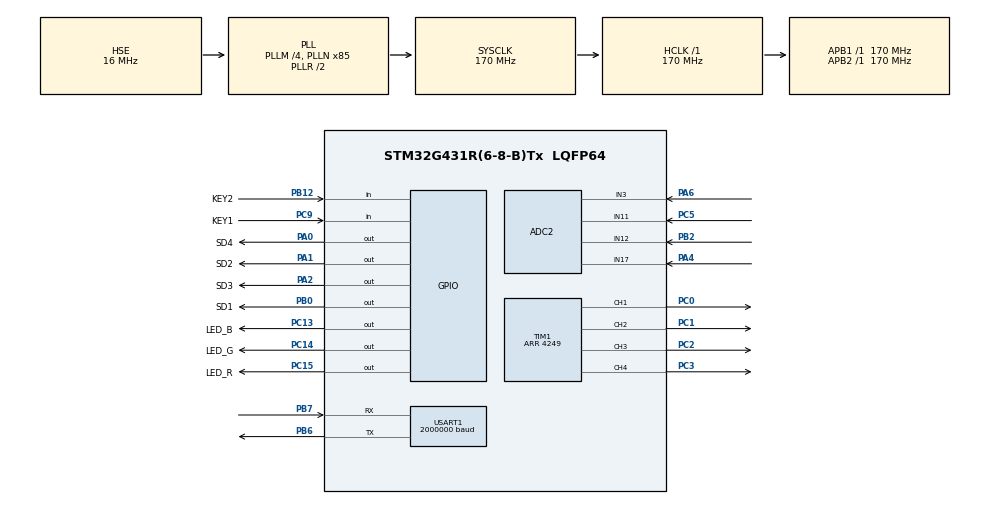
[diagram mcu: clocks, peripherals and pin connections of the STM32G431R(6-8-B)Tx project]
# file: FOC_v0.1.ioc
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ADC2.Channel-0\#ChannelRegularConversion=ADC_CHANNEL_11
ADC2.Channel-3\#ChannelRegularConversion=ADC_CHANNEL_12
ADC2.ContinuousConvMode=ENABLE
ADC2.DMAContinuousRequests=ENABLE
ADC2.EOCSelection=ADC_EOC_SEQ_CONV
ADC2.EnableInjectedConversion=ENABLE
ADC2.ExternalTrigConv=ADC_SOFTWARE_START
ADC2.ExternalTrigInjecConv=ADC_EXTERNALTRIGINJEC_T1_CC4
ADC2.InjNumberOfConversion=2
ADC2.InjectedChannel-1\#ChannelInjectedConversion=ADC_CHANNEL_3
ADC2.InjectedChannel-2\#ChannelInjectedConversion=ADC_CHANNEL_17
ADC2.InjectedOffsetNumber-1\#ChannelInjectedConversion=ADC_OFFSET_NONE
ADC2.InjectedOffsetNumber-2\#ChannelInjectedConversion=ADC_OFFSET_NONE
ADC2.InjectedRank-1\#ChannelInjectedConversion=1
ADC2.InjectedRank-2\#ChannelInjectedConversion=2
ADC2.InjectedSamplingTime-1\#ChannelInjectedConversion=ADC_SAMPLETIME_12CYCLES_5
ADC2.InjectedSamplingTime-2\#ChannelInjectedConversion=ADC_SAMPLETIME_12CYCLES_5
ADC2.NbrOfConversion=2
ADC2.NbrOfConversionFlag=1
ADC2.OffsetNumber-0\#ChannelRegularConversion=ADC_OFFSET_NONE
ADC2.OffsetNumber-3\#ChannelRegularConversion=ADC_OFFSET_NONE
ADC2.Rank-0\#ChannelRegularConversion=1
ADC2.Rank-3\#ChannelRegularConversion=2
ADC2.SamplingTime-0\#ChannelRegularConversion=ADC_SAMPLETIME_47CYCLES_5
ADC2.SamplingTime-3\#ChannelRegularConversion=ADC_SAMPLETIME_47CYCLES_5
Dma.ADC2.1.Direction=DMA_PERIPH_TO_MEMORY
Dma.ADC2.1.EventEnable=DISABLE
Dma.ADC2.1.Instance=DMA1_Channel2
Dma.ADC2.1.MemDataAlignment=DMA_MDATAALIGN_HALFWORD
Dma.ADC2.1.MemInc=DMA_MINC_ENABLE
Dma.ADC2.1.Mode=DMA_CIRCULAR
Dma.ADC2.1.PeriphDataAlignment=DMA_PDATAALIGN_HALFWORD
Dma.ADC2.1.PeriphInc=DMA_PINC_DISABLE
Dma.ADC2.1.Polarity=HAL_DMAMUX_REQ_GEN_RISING
Dma.ADC2.1.Priority=DMA_PRIORITY_HIGH
Dma.ADC2.1.RequestNumber=1
Dma.ADC2.1.SignalID=NONE
Dma.ADC2.1.SyncEnable=DISABLE
Dma.ADC2.1.SyncPolarity=HAL_DMAMUX_SYNC_NO_EVENT
Dma.ADC2.1.SyncRequestNumber=1
Dma.ADC2.1.SyncSignalID=NONE
Dma.Request0=USART1_TX
Dma.Request1=ADC2
Dma.USART1_TX.0.Direction=DMA_MEMORY_TO_PERIPH
Dma.USART1_TX.0.EventEnable=DISABLE
Dma.USART1_TX.0.Instance=DMA1_Channel1
Dma.USART1_TX.0.MemDataAlignment=DMA_MDATAALIGN_BYTE
Dma.USART1_TX.0.MemInc=DMA_MINC_ENABLE
Dma.USART1_TX.0.Mode=DMA_NORMAL
Dma.USART1_TX.0.PeriphDataAlignment=DMA_PDATAALIGN_BYTE
Dma.USART1_TX.0.PeriphInc=DMA_PINC_DISABLE
Dma.USART1_TX.0.Polarity=HAL_DMAMUX_REQ_GEN_RISING
Dma.USART1_TX.0.Priority=DMA_PRIORITY_HIGH
Dma.USART1_TX.0.RequestNumber=1
Dma.USART1_TX.0.SignalID=NONE
Dma.USART1_TX.0.SyncEnable=DISABLE
Dma.USART1_TX.0.SyncPolarity=HAL_DMAMUX_SYNC_NO_EVENT
Dma.USART1_TX.0.SyncRequestNumber=1
Dma.USART1_TX.0.SyncSignalID=NONE
Mcu.Family=STM32G4
Mcu.Name=STM32G431R(6-8-B)Tx
Mcu.Package=LQFP64
NVIC.ADC1_2_IRQn=true\:0\:0\:true\:false\:true\:true\:true\:true
NVIC.PriorityGroup=NVIC_PRIORITYGROUP_4
NVIC.TIM1_UP_TIM16_IRQn=true\:0\:0\:false\:false\:true\:true\:true\:true
NVIC.TIM2_IRQn=true\:2\:0\:true\:false\:true\:true\:true\:true
NVIC.USART1_IRQn=true\:3\:0\:true\:false\:true\:true\:true\:true
PA0.GPIO_Label=SD4
PA0.GPIO_Speed=GPIO_SPEED_FREQ_VERY_HIGH
PA0.Signal=GPIO_Output
PA1.GPIO_Label=SD2
PA1.GPIO_Speed=GPIO_SPEED_FREQ_VERY_HIGH
PA1.Signal=GPIO_Output
PA13.Mode=Serial_Wire
PA13.Signal=SYS_JTMS-SWDIO
PA14.Mode=Serial_Wire
PA14.Signal=SYS_JTCK-SWCLK
PA2.GPIO_Label=SD3
PA2.GPIO_Speed=GPIO_SPEED_FREQ_VERY_HIGH
PA2.Signal=GPIO_Output
PA4.Mode=IN17-Single-Ended
PA4.Signal=ADC2_IN17
PA6.Mode=IN3-Single-Ended
PA6.Signal=ADC2_IN3
PB0.GPIO_Label=SD1
PB0.GPIO_Speed=GPIO_SPEED_FREQ_VERY_HIGH
PB0.Signal=GPIO_Output
PB12.GPIO_Label=KEY2
PB12.Signal=GPIO_Input
PB2.Mode=IN12-Single-Ended
PB2.Signal=ADC2_IN12
PB6.Mode=Asynchronous
PB6.Signal=USART1_TX
PB7.Mode=Asynchronous
PB7.Signal=USART1_RX
PC0.Signal=S_TIM1_CH1
PC1.Signal=S_TIM1_CH2
PC13.GPIO_Label=LED_B
PC13.GPIO_Speed=GPIO_SPEED_FREQ_LOW
PC13.PinState=GPIO_PIN_SET
PC13.Signal=GPIO_Output
PC14-OSC32_IN.GPIO_Label=LED_G
PC14-OSC32_IN.PinState=GPIO_PIN_SET
PC14-OSC32_IN.Signal=GPIO_Output
PC15-OSC32_OUT.GPIO_Label=LED_R
PC15-OSC32_OUT.PinState=GPIO_PIN_SET
PC15-OSC32_OUT.Signal=GPIO_Output
PC2.Signal=S_TIM1_CH3
PC3.Signal=S_TIM1_CH4
PC5.Mode=IN11-Single-Ended
PC5.Signal=ADC2_IN11
PC9.GPIO_Label=KEY1
PC9.GPIO_PuPd=GPIO_NOPULL
PC9.Signal=GPIO_Input
PF0-OSC_IN.Mode=HSE-External-Oscillator
PF0-OSC_IN.Signal=RCC_OSC_IN
PF1-OSC_OUT.Mode=HSE-External-Oscillator
PF1-OSC_OUT.Signal=RCC_OSC_OUT
ProjectManager.HeapSize=0x200
ProjectManager.StackSize=0x400
ProjectManager.TargetToolchain=MDK-ARM V5.32
RCC.ADC12Freq_Value=170000000
RCC.AHBFreq_Value=170000000
RCC.APB1Freq_Value=170000000
RCC.APB1TimFreq_Value=170000000
RCC.APB2Freq_Value=170000000
RCC.APB2TimFreq_Value=170000000
RCC.CortexFreq_Value=170000000
RCC.EXTERNAL_CLOCK_VALUE=12288000
RCC.HCLKFreq_Value=170000000
RCC.HSE_VALUE=16000000
RCC.HSI48_VALUE=48000000
RCC.HSI_VALUE=16000000
RCC.LSE_VALUE=32768
RCC.PLLM=RCC_PLLM_DIV4
RCC.PLLN=85
RCC.PLLSourceVirtual=RCC_PLLSOURCE_HSE
RCC.SYSCLKFreq_VALUE=170000000
RCC.SYSCLKSource=RCC_SYSCLKSOURCE_PLLCLK
RCC.USBFreq_Value=170000000
RCC.VCOOutputFreq_Value=340000000
SH.S_TIM1_CH1.0=TIM1_CH1,PWM Generation1 CH1
SH.S_TIM1_CH2.0=TIM1_CH2,PWM Generation2 CH2
SH.S_TIM1_CH3.0=TIM1_CH3,PWM Generation3 CH3
SH.S_TIM1_CH4.0=TIM1_CH4,PWM Generation4 CH4
TIM1.AutoReloadPreload=TIM_AUTORELOAD_PRELOAD_ENABLE
TIM1.Channel-PWM\ Generation1\ CH1=TIM_CHANNEL_1
TIM1.Channel-PWM\ Generation2\ CH2=TIM_CHANNEL_2
TIM1.Channel-PWM\ Generation3\ CH3=TIM_CHANNEL_3
TIM1.Channel-PWM\ Generation4\ CH4=TIM_CHANNEL_4
TIM1.CounterMode=TIM_COUNTERMODE_CENTERALIGNED1
TIM1.PeriodNoDither=4249
TIM1.TIM_MasterOutputTrigger=TIM_TRGO_OC4REF
TIM1.TIM_MasterSlaveMode=TIM_MASTERSLAVEMODE_ENABLE
TIM2.AutoReloadPreload=TIM_AUTORELOAD_PRELOAD_ENABLE
TIM2.PeriodNoDither=9
TIM2.Prescaler=16999
TIM2.TIM_MasterSlaveMode=TIM_MASTERSLAVEMODE_DISABLE
USART1.BaudRate=2000000
USART1.Mode=MODE_TX
USART1.VirtualMode-Asynchronous=VM_ASYNC
VP_SYS_VS_DBSignals.Mode=DisableDeadBatterySignals
VP_TIM1_VS_ClockSourceINT.Mode=Internal
VP_TIM2_VS_ClockSourceINT.Mode=Internal
board=custom

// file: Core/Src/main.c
/* USER CODE BEGIN Header */
/**
  ******************************************************************************
  * @file           : main.c
  * @brief          : Main program body
  ******************************************************************************
  */
/* USER CODE END Header */
#include "main.h"
#include "adc.h"
#include "dma.h"
#include "tim.h"
#include "usart.h"
#include "gpio.h"

/* USER CODE BEGIN Includes */
#include <math.h>
#include "drv_config.h"       /* 硬件配置层 */
#include "mtr_config.h"       /* 电机配置层 */
#include "hw_cordic.h"        /* CORDIC 极速加速层 */
#include "hw_pwm.h"           /* PWM 底层驱动层 */
#include "hw_adc.h"           /* ADC 底层驱动层 */
#include "app_main.h"         /* 应用层总调度 */
#include "app_throttle.h"     /* 调速器映射 */
#include "app_telemetry.h"    /* VOFA+ 遥测 */
#include "safe_fault.h"       /* 安全保护层 */
#include "ctrl_observer.h"    /* 观测器 */
#include "ctrl_current_loop.h"/* 电流环 */
#include "ctrl_state_machine.h"/* 状态机 */
#include "ctrl_advanced.h"    /* MTPA 与弱磁算法 */
/* USER CODE END Includes */

void SystemClock_Config(void);

/**
  * @brief 应用入口：初始化 HAL、时钟、外设和电机控制模块后进入主循环。
  * @retval int 标准 C 入口返回值；本固件正常情况下不会返回。
  */
int main(void)
{

  /* 初始化 HAL 库和系统节拍，再配置 MCU 时钟树。 */
  HAL_Init();

  /* 配置 SYSCLK/HCLK/PCLK 为 170 MHz（详见 SystemClock_Config）。 */
  SystemClock_Config();

  /* 按 CubeMX 配置初始化 GPIO、DMA、定时器、ADC 和串口外设。 */
  MX_GPIO_Init();
  MX_DMA_Init();
  MX_TIM1_Init();
  MX_ADC2_Init();
  MX_USART1_UART_Init();
  MX_TIM2_Init();

  /* USER CODE BEGIN 2 */
    /* 初始化 CORDIC、保持功率驱动关闭，并建立应用控制器初始状态。 */
    HW_CORDIC_Init();       /* 启动 CORDIC 硬件三角函数加速 */
    HW_PWM_Disable();       /* 强制拉低 SD 引脚，确保上电安全 */
    APP_Init();             /* 初始化内部 PID、观测器、状态机等结构体 */

    /*
     * 先校准 ADC2；随后 TIM1 产生注入组触发，但外部 SD 使能保持低电平，
     * 避免校准期间逆变器向电机输出功率。
     */
    if (HAL_ADCEx_Calibration_Start(&hadc2, ADC_SINGLE_ENDED) != HAL_OK) {
        Error_Handler();
    }

    /* CH4 用作 ADC 注入转换触发；CH1-CH3 初始 CCR 清零。 */
    __HAL_TIM_SET_COMPARE(&htim1, TIM_CHANNEL_4, DRV_PWM_ARR - 1);
    __HAL_TIM_SET_COMPARE(&htim1, TIM_CHANNEL_1, 0U);
    __HAL_TIM_SET_COMPARE(&htim1, TIM_CHANNEL_2, 0U);
    __HAL_TIM_SET_COMPARE(&htim1, TIM_CHANNEL_3, 0U);

    /* 规则组 DMA 连续更新母线电压和调速器电压两个采样值。 */
    if (HAL_ADC_Start_DMA(&hadc2, (uint32_t *)adc_regular_dma_buf,
                          ADC_REGULAR_BUF_SIZE) != HAL_OK) {
        Error_Handler();
    }

    /* 启动 TIM1 三相 PWM 计数及 CH4 触发，驱动功率级仍处于禁用状态。 */
    if (HAL_TIM_PWM_Start(&htim1, TIM_CHANNEL_1) != HAL_OK ||
        HAL_TIM_PWM_Start(&htim1, TIM_CHANNEL_2) != HAL_OK ||
        HAL_TIM_PWM_Start(&htim1, TIM_CHANNEL_3) != HAL_OK ||
        HAL_TIM_PWM_Start(&htim1, TIM_CHANNEL_4) != HAL_OK) {
        Error_Handler();
    }

    /* ADC 注入转换完成后进入 20 kHz 电流控制回调。 */
    if (HAL_ADCEx_InjectedStart_IT(&hadc2) != HAL_OK) {
        Error_Handler();
    }

    /* 等待 ADC 高频回调累计 2000 组电流零点样本，最多等待 500 ms。 */
    uint32_t calib_start_tick = HAL_GetTick();
    while (g_calib_done == 0) {
        if ((HAL_GetTick() - calib_start_tick) >= 500U) {
            Error_Handler();
        }
        HAL_Delay(1);
    }

    /* 启动 TIM2 低频任务；电机仍保持 IDLE，满足输入和母线条件后才启动。 */
    if (HAL_TIM_Base_Start_IT(&htim2) != HAL_OK) {
        Error_Handler();
    }

    /* 初始化状态灯：红灯灭、绿灯亮，表示系统已完成启动。 */
    HAL_GPIO_WritePin(DRV_LED_R_PORT, DRV_LED_R_PIN, GPIO_PIN_SET);
    HAL_GPIO_WritePin(DRV_LED_G_PORT, DRV_LED_G_PIN, GPIO_PIN_RESET);
  /* USER CODE END 2 */

  /* Infinite loop */
  while (1)
  {

    /* USER CODE BEGIN 3 */
    /* 非硬实时主循环执行故障恢复轮询；FOC 和 1 kHz 调度由中断负责。 */
    SAFE_HandleFault();

    /* 可以在这里加入 LED 闪烁、OLED 刷新等不需要硬实时性的代码 */
  }
  /* USER CODE END 3 */
}

/**
  * @brief 配置外部高速时钟及 PLL，建立 170 MHz 系统时钟。
  * @retval None
  *
  * SYSCLK、AHB、APB1、APB2 均使用 PLL 输出并设置相应 Flash 等待周期。
  */
void SystemClock_Config(void)
{
  RCC_OscInitTypeDef RCC_OscInitStruct = {0};
  RCC_ClkInitTypeDef RCC_ClkInitStruct = {0};

  HAL_PWREx_ControlVoltageScaling(PWR_REGULATOR_VOLTAGE_SCALE1_BOOST);

  RCC_OscInitStruct.OscillatorType = RCC_OSCILLATORTYPE_HSE;
  RCC_OscInitStruct.HSEState = RCC_HSE_ON;
  RCC_OscInitStruct.PLL.PLLState = RCC_PLL_ON;
  RCC_OscInitStruct.PLL.PLLSource = RCC_PLLSOURCE_HSE;
  RCC_OscInitStruct.PLL.PLLM = RCC_PLLM_DIV4;
  RCC_OscInitStruct.PLL.PLLN = 85;
  RCC_OscInitStruct.PLL.PLLP = RCC_PLLP_DIV2;
  RCC_OscInitStruct.PLL.PLLQ = RCC_PLLQ_DIV2;
  RCC_OscInitStruct.PLL.PLLR = RCC_PLLR_DIV2;
  if (HAL_RCC_OscConfig(&RCC_OscInitStruct) != HAL_OK)
  {
    Error_Handler();
  }

  RCC_ClkInitStruct.ClockType = RCC_CLOCKTYPE_HCLK|RCC_CLOCKTYPE_SYSCLK
                              |RCC_CLOCKTYPE_PCLK1|RCC_CLOCKTYPE_PCLK2;
  RCC_ClkInitStruct.SYSCLKSource = RCC_SYSCLKSOURCE_PLLCLK;
  RCC_ClkInitStruct.AHBCLKDivider = RCC_SYSCLK_DIV1;
  RCC_ClkInitStruct.APB1CLKDivider = RCC_HCLK_DIV1;
  RCC_ClkInitStruct.APB2CLKDivider = RCC_HCLK_DIV1;

  if (HAL_RCC_ClockConfig(&RCC_ClkInitStruct, FLASH_LATENCY_4) != HAL_OK)
  {
    Error_Handler();
  }
}

/* USER CODE BEGIN 4 */

/* ============================================================
 * ADC 注入转换完成回调是高速电流控制入口：依次完成零点校准、
 * 电流换算、保护、Clarke 变换、观测器/IF 状态更新和电流环执行。
 * ============================================================ */

/**
  * @brief TIM1_CH4 触发 ADC 注入转换完成后执行高速电流控制。
  */
void HAL_ADCEx_InjectedConvCpltCallback(ADC_HandleTypeDef *hadc)
{
    if (hadc->Instance != ADC2) return;

    /* 读取两路注入组原始样本，先完成启动阶段的零电流偏置累计。 */
    uint16_t raw_ia = (uint16_t)ADC2->JDR1;
    uint16_t raw_ic = (uint16_t)ADC2->JDR2;

    if (HW_ADC_CalibrateInjected(raw_ia, raw_ic) == 0) {
        return; /* 校准期间不使用尚未确认的电流偏置执行控制。 */
    }

    /* 将 ADC 样本换算为 IA、IB、IC (A)。 */
    HW_ADC_GetCurrents(&g_motor.i_a, &g_motor.i_b, &g_motor.i_c);

    if (g_motor.state == STATE_FAULT) {
        return;
    }

    if (SAFE_CheckCurrentFast(g_motor.i_a, g_motor.i_b, g_motor.i_c) != FAULT_NONE) {
        return;
    }
    if (g_motor.state == STATE_IDLE) {
        return;
    }

    /* Clarke 变换：三相电流 (A) 映射到静止坐标系 alpha-beta (A)。 */
    g_motor.i_alpha = g_motor.i_a;
    g_motor.i_beta  = (g_motor.i_a + 2.0f * g_motor.i_b) * 0.57735027f;

    /* 以本周期电压/电流反馈更新磁链观测器及 PLL。 */
    Ctrl_Observer_Update(&g_motor.obs, g_motor.v_alpha, g_motor.v_beta,
                         g_motor.i_alpha, g_motor.i_beta, FOC_DT);

    /* IF 启动时按 FOC_DT 积分电频率得到电角度，并同步观测器状态。 */
    if (g_motor.state == STATE_IF) {
        float target_freq = (float)g_motor.direction * IF_START_FREQ;
        if (g_motor.direction > 0 && g_motor.freq_e < target_freq) {
            g_motor.freq_e += IF_RAMP_RATE * FOC_DT;
            if (g_motor.freq_e > target_freq) g_motor.freq_e = target_freq;
        } else if (g_motor.direction < 0 && g_motor.freq_e > target_freq) {
            g_motor.freq_e -= IF_RAMP_RATE * FOC_DT;
            if (g_motor.freq_e < target_freq) g_motor.freq_e = target_freq;
        }
        g_motor.theta_if += 6.28318531f * g_motor.freq_e * FOC_DT;
        if (g_motor.theta_if >= 6.28318531f) {
            g_motor.theta_if -= 6.28318531f;
        } else if (g_motor.theta_if < 0.0f) {
            g_motor.theta_if += 6.28318531f;
        }
        g_motor.obs.theta_est = g_motor.theta_if;

        if (fabsf(g_motor.freq_e) >= IF_START_FREQ) {
            Ctrl_Observer_ForceAlign(&g_motor.obs, g_motor.theta_if,
                                     g_motor.freq_e, g_motor.i_alpha,
                                     g_motor.i_beta);
            g_motor.run_timer = 0U;
            g_motor.state = STATE_RUN;
        }
    }

    /* IF、闭环 RUN 和 BRAKE 状态均运行高速 dq 电流环及 SVPWM。 */
    if (g_motor.state == STATE_IF || g_motor.state == STATE_RUN ||
        g_motor.state == STATE_BRAKE) {
        Ctrl_CurrentLoop_Execute(&g_motor, HW_ADC_GetVbus(), FOC_DT);
    }
}

/**
  * @brief TIM2 低频任务入口，通常按 1 kHz 调用。
  *
  * 依次执行保护检查、调速器映射、状态转换、速度及高级算法更新和遥测。
  */
void HAL_TIM_PeriodElapsedCallback(TIM_HandleTypeDef *htim)
{
    if (htim->Instance == TIM2)
    {
        float vbus = HW_ADC_GetVbus();

        /* 低频冗余保护；检测到故障即锁存状态并关闭功率级。 */
        if (g_motor.state != STATE_FAULT) {
            uint8_t fault = SAFE_Check(vbus, g_motor.i_a, g_motor.i_b, g_motor.i_c);
            if (fault != FAULT_NONE) {
                g_motor.fault_code = fault;
                g_motor.state = STATE_FAULT;
                HW_PWM_Disable();
            }
        }

        /* 读取调速器 ADC 电压并映射为有符号机械转速目标 (RPM)。 */
        float throttle_v = HW_ADC_GetThrottleVoltage();
        float target_rpm;
        APP_Throttle_Update(throttle_v, &target_rpm);
        g_motor.target_rpm = target_rpm;

        /*
         * 中位命令进入有源制动；变向先减速到近零，再切换转向启动，
         * 避免在明显反向转速下直接施加新方向的启动电流。
         */
        if (g_motor.state != STATE_FAULT) {
            int8_t target_direction = target_rpm > 0.0f ? 1 : -1;
            float speed_abs = fabsf(g_motor.obs.speed_rpm);

            if (target_rpm == 0.0f) {
                if (g_motor.state == STATE_IF || g_motor.state == STATE_RUN) {
                    g_motor.state = STATE_BRAKE;
                }
            } else if (g_motor.state == STATE_IDLE &&
                       vbus > DRV_UVP_RECOVER &&
                       vbus < DRV_OVP_RECOVER) {
                if (speed_abs > 20.0f) {
                    g_motor.state = STATE_BRAKE;
                } else {
                    g_motor.direction = target_direction;
                    g_motor.state = STATE_IF;
                }
            } else if (g_motor.state == STATE_IF &&
                       target_direction != g_motor.direction) {
                g_motor.state = STATE_BRAKE;
            } else if (g_motor.state == STATE_RUN &&
                       target_direction != (g_motor.obs.speed_rpm >= 0.0f ? 1 : -1)) {
                g_motor.state = speed_abs <= 20.0f ? STATE_IDLE : STATE_BRAKE;
            }
        }

        /* 执行 IDLE/IF/RUN/BRAKE/FAULT 的进入动作及状态内处理。 */
        Ctrl_StateMachine_Task(&g_motor, vbus, 0.001f);

        /* 速度环、MTPA 和弱磁仅在无感闭环 RUN 状态更新。 */
        if (g_motor.state == STATE_RUN) {

            if (g_motor.run_timer <= 20U) {
                g_motor.pi_speed.integral = (float)g_motor.direction * IF_START_IQ;
                g_motor.iq_ref = (float)g_motor.direction * IF_START_IQ;
            } else {

                /* 1 kHz 采样下 alpha=0.01 的一阶低通，近似截止频率约 1.6 Hz。 */
								g_motor.obs.speed_rpm_filt = g_motor.obs.speed_rpm_filt * 0.99f + g_motor.obs.speed_rpm * 0.01f;
							  float speed_actual = g_motor.obs.speed_rpm_filt;
                /* 速度误差与目标、反馈均为机械 RPM。 */
                float speed_error = g_motor.target_rpm - speed_actual;
                if (isnan(speed_actual) || isinf(speed_actual) ||
                    isnan(speed_error) || isinf(speed_error)) {
                    g_motor.iq_ref = 0.0f;
                    Speed_PI_Reset(&g_motor.pi_speed);
                } else {
                    if (fabsf(speed_error) < 10.0f) {
                        speed_error = 0.0f;
                    }
//										else if (speed_error > 1000.0f) {
//                        speed_error = 1000.0f;
//                    } else if (speed_error < -1000.0f) {
//                        speed_error = -1000.0f;
//                    }

                    /* 死区处理后重构速度目标，由速度 PI 输出 q 轴电流参考。 */
                    float speed_target  = speed_actual + speed_error;
                    g_motor.iq_ref = Speed_PI_Calc(&g_motor.pi_speed,
                                                   speed_target,
                                                   speed_actual,
                                                   0.001f);
                }
            }

                /* 分别计算 MTPA 和弱磁 d 轴电流参考 (A)。 */
								g_motor.id_mtpa_ref = CTRL_Calc_MTPA(g_motor.iq_ref);
								g_motor.id_fw_ref = CTRL_Calc_FieldWeakening(g_motor.v_d, g_motor.v_q, vbus,
									g_motor.i_q, g_motor.iq_ref,
									g_motor.id_fw_ref, 0.001f);
        }

        /* 将当前电机量打包为遥测帧；发送状态由遥测模块管理。 */
        APP_Telemetry_Send(&g_motor);
    }
}

/**
  * @brief USART1 DMA 发送完成后通知遥测模块释放发送缓冲区。
  */
void HAL_UART_TxCpltCallback(UART_HandleTypeDef *huart)
{
    if (huart->Instance == USART1) {
        APP_Telemetry_TxCpltCallback();
    }
}

/* USER CODE END 4 */

/**
  * @brief HAL 初始化或外设启动失败后的安全停机循环。
  * @retval None
  */
void Error_Handler(void)
{
  __disable_irq();
  while (1)
  {
  }
}

#ifdef USE_FULL_ASSERT
void assert_failed(uint8_t *file, uint32_t line)
{
  /* USER CODE BEGIN 6 */
  /* 可在此处加入断言位置记录；当前实现不执行额外恢复动作。 */
  /* USER CODE END 6 */
}
#endif /* USE_FULL_ASSERT */
